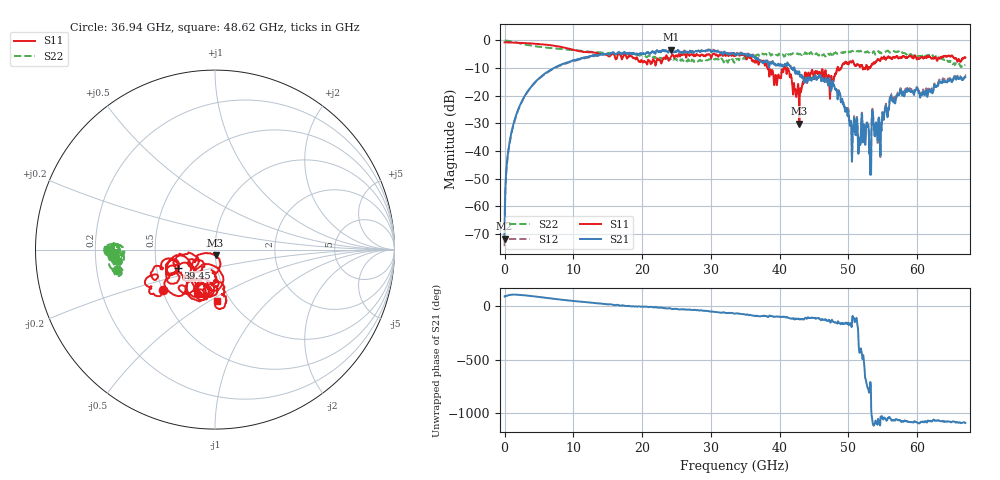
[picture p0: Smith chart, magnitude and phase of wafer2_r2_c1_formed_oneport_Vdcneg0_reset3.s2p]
!Keysight Technologies,N5227A,US51270248,A.10.65.08
!Date: Tuesday, June 11, 2024 08:21:09
!Correction: S11(Full 2 Port(1,4))
!S41(Full 2 Port(1,4))
!S14(Full 2 Port(1,4))
!S44(Full 2 Port(1,4))
!S2P File: Measurements: S11, S41, S14, S44:
# Hz S  dB  R 50
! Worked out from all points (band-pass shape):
!   3201 points, 10 MHz to 67 GHz, reference 50 ohm
!   highest |S21| = -3.36 dB at 24.19 GHz (marker M1); lowest = -71.6 dB at 10 MHz (marker M2)
!   |S21| within 3 dB of the highest: 11.36 GHz to 36.38 GHz (25.02 GHz wide, 105 % of centre); 36.44616 GHz to 36.54901 GHz (102.8 MHz wide, 0.282 % of centre)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
!   lowest |S11| = -30.0 dB at 42.86 GHz (marker M3), VSWR 1.07, Z = 50.2 - j3.16 ohm
!   |S11| at or under -10 dB: 38.35 GHz to 40.6 GHz (2.245 GHz wide, 5.69 % of centre); 41.16 GHz to 48.39 GHz (7.232 GHz wide, 16.2 % of centre); 48.53 GHz to 48.91 GHz (380.3 MHz wide, 0.781 % of centre)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
!   |S22| runs from -9.6 to 0.0 dB; largest |S21 - S12| = 0.053
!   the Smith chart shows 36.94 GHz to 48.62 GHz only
!   S11 on the Smith chart (normalised r, x): 36.94 GHz: 0.51, -0.26; 39.45 GHz: 0.65, -0.14; 48.62 GHz: 0.87, -0.54
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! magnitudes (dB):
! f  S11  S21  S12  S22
! 10 MHz  -0.7  -71.6  -74.3  0.0
! 386.8 MHz  -0.7  -43.0  -43.9  -0.1
! 721.8 MHz  -0.7  -36.7  -37.5  -0.2
! 2.543 GHz  -0.9  -21.9  -22.0  -1.3
! 5.893 GHz  -1.5  -11.9  -12.1  -2.5
! 11.19 GHz  -4.0  -6.4  -6.7  -3.8
! 22.35 GHz  -6.9  -4.0  -4.0  -6.2
! 24.19 GHz  -5.9  -3.4  -3.4  -6.6
! 33.51 GHz  -5.6  -5.2  -5.1  -7.6
! 36.94 GHz  -8.7  -7.0  -7.2  -5.1
! 39.45 GHz  -12.8  -8.9  -8.9  -5.2
! 40.96 GHz  -11.2  -9.2  -9.1  -5.0
! 42.86 GHz  -30.0  -11.8  -11.7  -4.8
! 44.68 GHz  -10.7  -14.0  -13.6  -4.8
! 47.55 GHz  -13.1  -17.4  -16.9  -5.1
! 48.62 GHz  -10.9  -18.4  -18.2  -4.4
! 50.4 GHz  -7.8  -31.0  -30.1  -3.9
! 52.62 GHz  -8.9  -30.4  -30.1  -4.1
! 53.02 GHz  -9.9  -39.4  -39.1  -4.4
! 55.84 GHz  -5.8  -24.8  -24.4  -3.9
! 57.41 GHz  -6.2  -19.5  -19.1  -4.3
! 67 GHz  -6.2  -13.2  -12.8  -8.9
